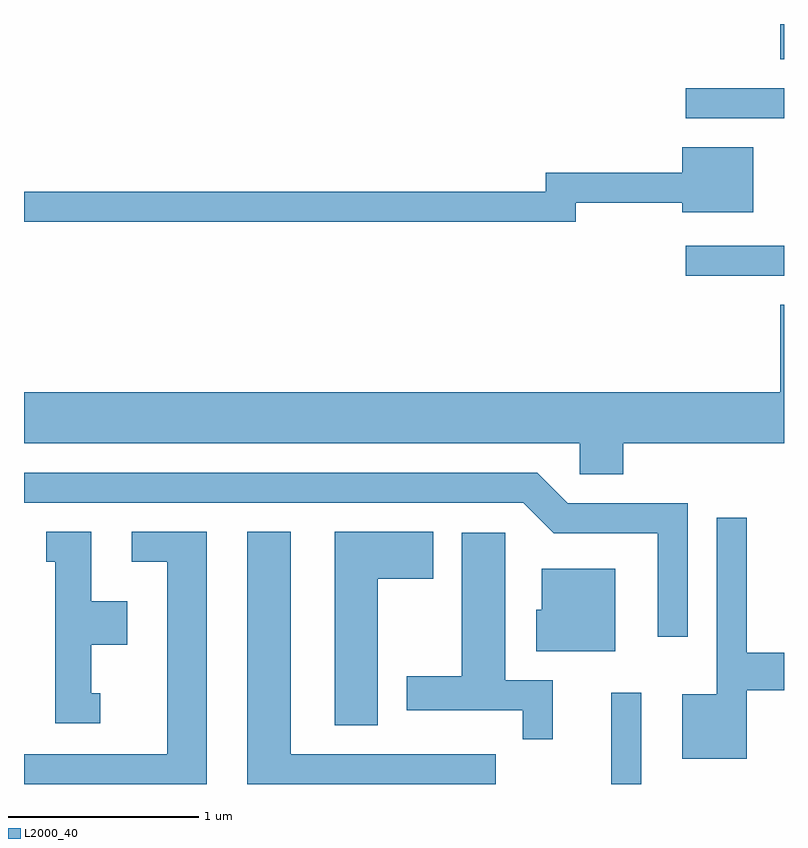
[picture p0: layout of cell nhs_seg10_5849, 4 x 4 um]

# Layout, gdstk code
import gdstk
lib = gdstk.Library(unit=1e-6, precision=1e-09)
def R(c, l, rs):  # rectangles x0, y0, x1, y1
    for r in rs: c.add(gdstk.rectangle(r[:2], r[2:], *l))
def P(c, l, *ps):  # polygons
    for p in ps: c.add(gdstk.Polygon(p, *l))
L2000_40 = (2000, 40)

nhs_seg10_5849 = lib.new_cell('nhs_seg10_5849')
R(nhs_seg10_5849, L2000_40, [(360.701,2156.522,360.859,2157.003), (361.093,2159.196,361.611,2159.354), (361.093,2160.026,361.611,2160.184), (361.591,2160.336,361.611,2160.522)])
P(nhs_seg10_5849, L2000_40, [(360.514,2159.581),(361.076,2159.581),(361.076,2159.531),(361.449,2159.531),(361.449,2159.874),(361.076,2159.874),(361.076,2159.739),(360.356,2159.739),(360.356,2159.639),(357.611,2159.639),(357.611,2159.481),(360.514,2159.481)],
  [(360.764,2158.316),(361.611,2158.316),(361.611,2159.044),(361.591,2159.044),(361.591,2158.584),(357.611,2158.584),(357.611,2158.316),(360.536,2158.316),(360.536,2158.151),(360.764,2158.151)],
  [(361.104,2157.999),(360.472,2157.999),(360.312,2158.159),(357.611,2158.159),(357.611,2158.001),(360.239,2158.001),(360.399,2157.841),(360.946,2157.841),(360.946,2157.298),(361.104,2157.298)],
  [(361.414,2157.016),(361.611,2157.016),(361.611,2157.214),(361.414,2157.214),(361.414,2157.923),(361.256,2157.923),(361.256,2156.994),(361.076,2156.994),(361.076,2156.656),(361.414,2156.656)],
  [(358.013,2156.999),(357.964,2156.999),(357.964,2157.256),(358.154,2157.256),(358.154,2157.484),(357.964,2157.484),(357.964,2157.849),(357.728,2157.849),(357.728,2157.691),(357.776,2157.691),(357.776,2156.841),(358.013,2156.841)],
  [(360.093,2156.679),(359.014,2156.679),(359.014,2157.849),(358.786,2157.849),(358.786,2156.522),(360.093,2156.522)],
  [(358.574,2157.849),(358.178,2157.849),(358.178,2157.691),(358.366,2157.691),(358.366,2156.679),(357.611,2156.679),(357.611,2156.522),(358.574,2156.522)],
  [(359.474,2157.601),(359.764,2157.601),(359.764,2157.849),(359.246,2157.849),(359.246,2156.831),(359.474,2156.831)],
  [(360.394,2157.069),(360.144,2157.069),(360.144,2157.844),(359.916,2157.844),(359.916,2157.089),(359.626,2157.089),(359.626,2156.911),(360.236,2156.911),(360.236,2156.758),(360.394,2156.758)],
  [(360.724,2157.654),(360.336,2157.654),(360.336,2157.439),(360.306,2157.439),(360.306,2157.221),(360.724,2157.221)])

lib.write_gds('nhs_seg10_5849.gds')
